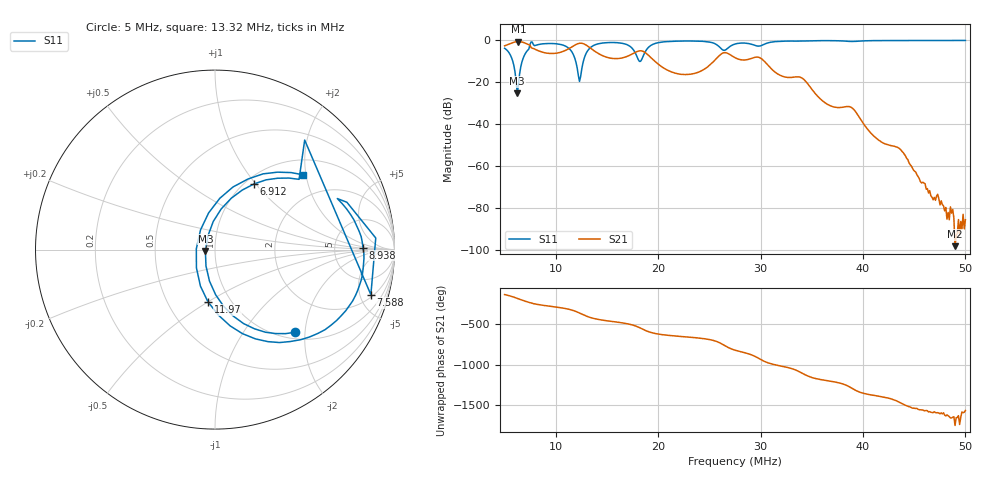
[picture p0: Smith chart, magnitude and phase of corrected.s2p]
! S11/S21 only; reverse parameters are placeholders. Device calibration unverified.
! [Saver CAL applied] C:\Users\aknya\MyProjects\rf-simulator\calibration2.cal | Ideal standards assumed | Input: NanoVNA F V2 profile | COM3 | 2026-09-08T11:56:38.3657916-04:00 | device calibration unverified
# HZ S RI R 50
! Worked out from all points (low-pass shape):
!   401 points, 5 MHz to 50 MHz, reference 50 ohm
!   highest |S21| = -0.69 dB at 6.35 MHz (marker M1); lowest = -98.0 dB at 48.99 MHz (marker M2)
!   |S21| within 3 dB of the highest: start of sweep to 7.648 MHz; 11.41 MHz to 13.36 MHz (1.951 MHz wide, 15.8 % of centre)
!   lowest |S11| = -25.3 dB at 6.237 MHz (marker M3), VSWR 1.11, Z = 44.9 - j0.657 ohm
!   |S11| at or under -10 dB: 5.793 MHz to 6.717 MHz (924.6 kHz wide, 14.8 % of centre); 11.94 MHz to 12.7 MHz (759.2 kHz wide, 6.16 % of centre); 18.15 MHz to 18.29 MHz (138.2 kHz wide, 0.759 % of centre)
!   S12 and S22 are empty: the file has one direction only
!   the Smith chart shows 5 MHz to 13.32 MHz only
!   S11 on the Smith chart (normalised r, x): 5 MHz: 1.13, -1.77; 6.912 MHz: 1.10, +0.98; 7.588 MHz: 2.27, -6.25; 8.938 MHz: 10, +1; 11.97 MHz: 0.78, -0.50; 13.32 MHz: 1.36, +1.93
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5000000  0.4448 -0.461  -0.4861 -0.5473  0 0  0 0
6237500  -0.0536 -0.00729  -0.9221 -0.0218  0 0  0 0
6350000  -0.0392 0.077  -0.9214 0.0654  0 0  0 0
6912500  0.2175 0.3659  -0.7529 0.4321  0 0  0 0
7587500  0.8685 -0.2514  -0.3799 0.5461  0 0  0 0
8937500  0.8245 0.0116  -0.0185 0.4984  0 0  0 0
1.1975e7  -0.0392 -0.291  0.7456 0.2564  0 0  0 0
1.25375e7  -0.0356 0.2043  0.8194 -0.19  0 0  0 0
1.3325e7  0.493 0.4163  0.3941 -0.5338  0 0  0 0
1.59125e7  0.8108 -0.3269  -0.1306 -0.3395  0 0  0 0
1.7375e7  0.2212 -0.6334  -0.3669 -0.2708  0 0  0 0
1.81625e7  -0.3093 -0.0454  -0.5552 -0.0035  0 0  0 0
1.895e7  0.2576 0.5783  -0.321 0.3277  0 0  0 0
2.0075e7  0.8166 0.3182  -0.0398 0.2579  0 0  0 0
2.3225e7  0.9167 -0.258  0.0775 0.135  0 0  0 0
2.615e7  0.4964 -0.3851  0.448 -0.135  0 0  0 0
2.75e7  0.7608 -0.2715  -0.0567 -0.3785  0 0  0 0
3.0425e7  0.7452 -0.3194  -0.1504 0.2636  0 0  0 0
3.50375e7  0.6995 -0.662  0.014 -0.0647  0 0  0 0
4.2575e7  0.4441 -0.8719  0.00284 0.00141  0 0  0 0
4.89875e7  0.1954 -0.9604  7.86e-06 9.88e-06  0 0  0 0
5e7  0.1761 -0.9663  -2.98e-05 -4.45e-05  0 0  0 0
